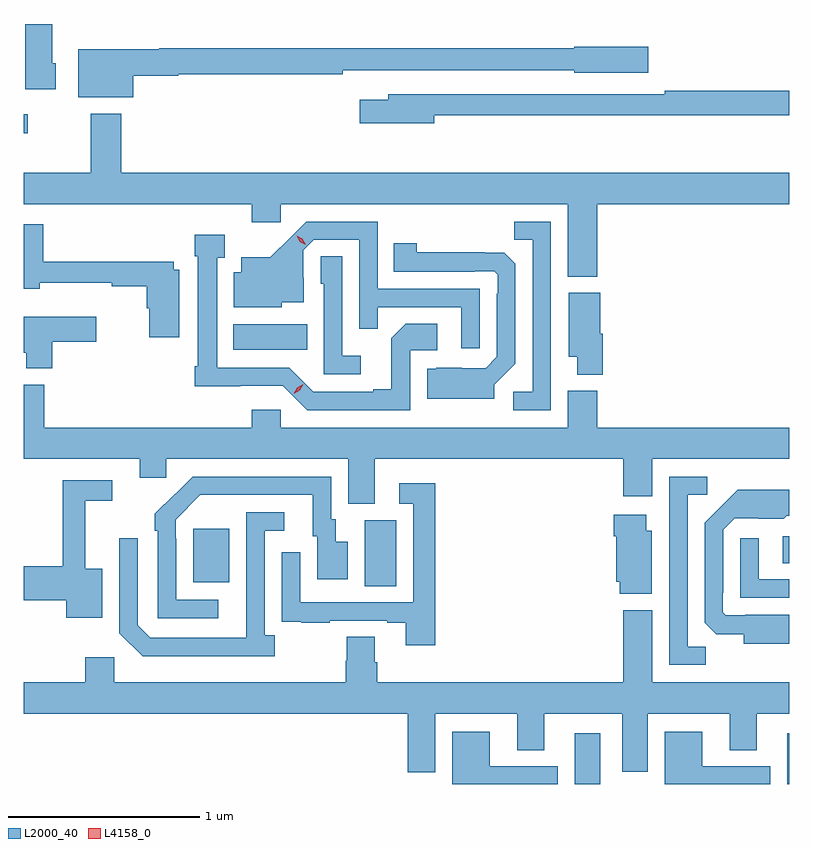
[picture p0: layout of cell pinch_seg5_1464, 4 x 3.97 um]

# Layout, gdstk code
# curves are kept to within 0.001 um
import gdstk
lib = gdstk.Library(unit=1e-6, precision=1e-09)
def R(c, l, rs):  # rectangles x0, y0, x1, y1
    for r in rs: c.add(gdstk.rectangle(r[:2], r[2:], *l))
def P(c, l, *ps):  # polygons
    for p in ps: c.add(gdstk.Polygon(p, *l))
L2000_40 = (2000, 40)
L4158_0 = (4158, 0)

pinch_seg5_1464 = lib.new_cell('pinch_seg5_1464')
R(pinch_seg5_1464, L2000_40, [(313.646,847.069,313.78,847.333), (314.756,847.069,314.766,847.333), (312.548,848.104,312.712,848.448), (311.651,848.123,311.839,848.404), (314.733,848.224,314.766,848.364), (311.861,849.338,312.248,849.472), (310.766,850.472,310.786,850.569)])
P(pinch_seg5_1464, L2000_40, [(310.933,850.836),(310.915,850.836),(310.915,851.042),(310.772,851.042),(310.772,850.7),(310.933,850.7)],
  [(311.338,850.772),(311.574,850.772),(311.574,850.78),(312.434,850.78),(312.434,850.8),(313.644,850.8),(313.644,850.787),(314.029,850.787),(314.029,850.922),(313.644,850.922),(313.644,850.916),(311.474,850.916),(311.474,850.909),(311.051,850.909),(311.051,850.658),(311.338,850.658)],
  [(312.91,850.566),(314.766,850.566),(314.766,850.694),(314.116,850.694),(314.116,850.674),(312.671,850.674),(312.671,850.645),(312.522,850.645),(312.522,850.523),(312.91,850.523)],
  [(313.763,850.1),(314.766,850.1),(314.766,850.264),(311.276,850.264),(311.276,850.573),(311.116,850.573),(311.116,850.264),(310.766,850.264),(310.766,850.1),(311.957,850.1),(311.957,850.005),(312.108,850.005),(312.108,850.1),(313.61,850.1),(313.61,849.722),(313.763,849.722)],
  [(313.149,849.657),(312.615,849.657),(312.615,850.008),(312.242,850.008),(312.055,849.823),(311.903,849.823),(311.903,849.744),(311.864,849.744),(311.864,849.56),(312.114,849.56),(312.114,849.587),(312.229,849.587),(312.229,849.716),(312.225,849.716),(312.225,849.858),(312.282,849.915),(312.519,849.915),(312.519,849.448),(312.617,849.448),(312.617,849.561),(313.053,849.561),(313.053,849.348),(313.149,849.348)],
  [(313.521,850.008),(313.33,850.008),(313.33,849.913),(313.425,849.913),(313.425,849.12),(313.323,849.12),(313.323,849.024),(313.521,849.024)],
  [(311.578,849.757),(311.548,849.757),(311.548,849.799),(310.868,849.799),(310.868,849.994),(310.766,849.994),(310.766,849.659),(310.849,849.659),(310.849,849.689),(311.224,849.689),(311.224,849.67),(311.408,849.67),(311.408,849.555),(311.42,849.555),(311.42,849.405),(311.578,849.405)],
  [(312.786,849.336),(312.928,849.336),(312.928,849.476),(312.763,849.476),(312.687,849.4),(312.687,849.133),(312.593,849.133),(312.593,849.12),(312.279,849.12),(312.153,849.246),(311.776,849.246),(311.776,849.819),(311.815,849.819),(311.815,849.94),(311.658,849.94),(311.658,849.827),(311.675,849.827),(311.675,849.253),(311.658,849.253),(311.658,849.149),(312.12,849.15),(312.246,849.024),(312.786,849.024)],
  [(313.225,849.156),(313.335,849.266),(313.335,849.788),(313.276,849.847),(312.819,849.848),(312.819,849.895),(312.7,849.895),(312.7,849.747),(313.124,849.747),(313.124,849.75),(313.224,849.75),(313.242,849.732),(313.242,849.632),(313.239,849.632),(313.239,849.303),(313.179,849.243),(312.922,849.244),(312.919,849.241),(312.875,849.241),(312.875,849.083),(313.225,849.083)],
  [(312.526,849.307),(312.429,849.307),(312.429,849.827),(312.318,849.827),(312.318,849.684),(312.333,849.684),(312.333,849.21),(312.526,849.21)],
  [(313.793,849.423),(313.78,849.423),(313.78,849.637),(313.613,849.637),(313.613,849.302),(313.658,849.302),(313.658,849.209),(313.793,849.209)],
  [(310.913,849.382),(311.143,849.382),(311.143,849.511),(310.766,849.511),(310.766,849.323),(310.778,849.323),(310.778,849.242),(310.913,849.242)],
  [(312.601,848.768),(313.898,848.768),(313.898,848.574),(314.05,848.574),(314.05,848.768),(314.766,848.768),(314.766,848.932),(313.763,848.932),(313.763,849.124),(313.61,849.124),(313.61,848.932),(312.108,848.932),(312.108,849.025),(311.957,849.025),(311.957,848.932),(310.871,848.932),(310.871,849.157),(310.766,849.157),(310.766,848.768),(311.372,848.768),(311.372,848.67),(311.511,848.67),(311.511,848.768),(312.461,848.768),(312.461,848.533),(312.601,848.533)],
  [(311.782,848.031),(311.562,848.031),(311.562,848.351),(311.559,848.351),(311.559,848.451),(311.688,848.58),(312.275,848.58),(312.275,848.364),(312.299,848.364),(312.299,848.139),(312.46,848.139),(312.46,848.335),(312.397,848.335),(312.397,848.454),(312.372,848.454),(312.372,848.676),(311.648,848.676),(311.451,848.481),(311.451,848.393),(311.466,848.393),(311.466,847.935),(311.782,847.935)],
  [(314.331,847.787),(314.235,847.787),(314.235,848.58),(314.338,848.58),(314.338,848.676),(314.139,848.676),(314.139,847.692),(314.331,847.692)],
  [(311.176,848.194),(311.087,848.194),(311.087,848.55),(311.227,848.55),(311.227,848.658),(310.969,848.658),(310.969,848.207),(310.766,848.207),(310.766,848.029),(310.988,848.029),(310.988,847.937),(311.176,847.937)],
  [(312.917,848.641),(312.729,848.641),(312.729,848.535),(312.801,848.535),(312.801,848.019),(312.21,848.019),(312.21,848.281),(312.114,848.281),(312.114,848.026),(312.115,848.026),(312.115,847.917),(312.217,847.917),(312.217,847.911),(312.365,847.911),(312.365,847.923),(312.665,847.923),(312.665,847.911),(312.761,847.911),(312.761,847.794),(312.917,847.794)],
  [(314.766,847.954),(314.536,847.954),(314.536,847.95),(314.436,847.95),(314.418,847.968),(314.418,848.068),(314.421,848.068),(314.421,848.397),(314.481,848.457),(314.738,848.456),(314.754,848.472),(314.766,848.472),(314.766,848.608),(314.497,848.608),(314.325,848.434),(314.325,847.912),(314.384,847.853),(314.528,847.853),(314.528,847.802),(314.766,847.802)],
  [(312.076,847.846),(312.024,847.846),(312.024,848.394),(312.127,848.394),(312.127,848.49),(311.928,848.49),(311.928,847.833),(311.427,847.833),(311.361,847.899),(311.361,848.353),(311.265,848.353),(311.265,847.857),(311.386,847.736),(312.076,847.736)],
  [(314.047,848.394),(314.02,848.394),(314.02,848.476),(313.85,848.476),(313.85,848.363),(313.862,848.363),(313.862,848.127),(313.88,848.127),(313.88,848.063),(314.047,848.063)],
  [(314.766,848.139),(314.607,848.139),(314.607,848.353),(314.511,848.353),(314.511,848.043),(314.766,848.043)],
  [(312.916,847.436),(313.346,847.436),(313.346,847.246),(313.486,847.246),(313.486,847.436),(313.895,847.436),(313.895,847.132),(314.026,847.132),(314.026,847.436),(314.456,847.436),(314.456,847.246),(314.596,847.246),(314.596,847.436),(314.766,847.436),(314.766,847.6),(314.05,847.6),(314.05,847.978),(313.898,847.978),(313.898,847.6),(312.614,847.6),(312.614,847.706),(312.601,847.706),(312.601,847.838),(312.454,847.838),(312.454,847.713),(312.449,847.713),(312.449,847.6),(311.238,847.6),(311.238,847.732),(311.087,847.732),(311.087,847.6),(310.766,847.6),(310.766,847.436),(312.773,847.436),(312.773,847.13),(312.916,847.13)],
  [(314.667,847.161),(314.311,847.161),(314.311,847.342),(314.115,847.342),(314.115,847.069),(314.667,847.069)],
  [(313.557,847.161),(313.201,847.161),(313.201,847.342),(313.005,847.342),(313.005,847.069),(313.557,847.069)])
P(pinch_seg5_1464, L4158_0, [(312.239,849.889),(312.209,849.904),(312.192,849.934),(312.192,849.934),(312.192,849.934),(312.222,849.919),(312.24,849.889),(312.24,849.889)],
  [(312.176,849.108),(312.176,849.108),(312.194,849.141),(312.226,849.16),(312.226,849.16),(312.226,849.159),(312.208,849.127),(312.177,849.108)])

lib.write_gds('pinch_seg5_1464.gds')
